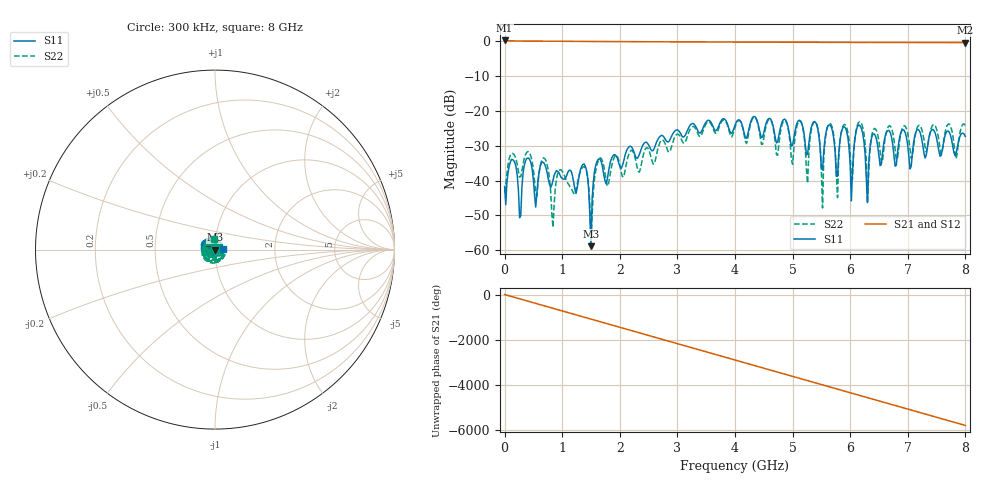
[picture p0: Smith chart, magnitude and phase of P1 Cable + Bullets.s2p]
#  HZ  S  DB  R  50.00
! Rohde & Schwarz Vector Network Analyzer
! Rohde-Schwarz,ZNB8-4Port,1311601044101761,1.95
! Created: UTC 2/26/2014, 9:19:17 AM
! freq[Hz]  db:S11  ang:S11  db:S21  ang:S21  db:S12  ang:S12  db:S22  ang:S22
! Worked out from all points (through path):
!   401 points, 300 kHz to 8 GHz, reference 50 ohm
!   highest |S21| = 0.02 dB at 300 kHz (marker M1); lowest = -0.6 dB at 8 GHz (marker M2)
!   group delay of S21, straight-line fit = 2.01 ns
!   lowest |S11| = -58.8 dB at 1.5 GHz (marker M3), VSWR 1.00, Z = 50.1 - j0.0603 ohm
!   |S11| at or under -10 dB: start of sweep to end of sweep
!   |S22| runs from -57.2 to -21.9 dB; largest |S21 - S12| = 0.0042
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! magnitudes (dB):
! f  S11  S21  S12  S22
! 300 kHz  -41.7  0.0  0.0  -43.4
! 140.3 MHz  -34.1  -0.1  -0.1  -32.2
! 260.3 MHz  -50.6  -0.1  -0.1  -39.1
! 700.3 MHz  -35.5  -0.2  -0.2  -33.8
! 840.3 MHz  -40.0  -0.2  -0.2  -53.4
! 1.34 GHz  -35.9  -0.3  -0.3  -36.5
! 1.5 GHz  -58.8  -0.3  -0.3  -57.2
! 1.64 GHz  -33.8  -0.3  -0.3  -33.8
! 2.68 GHz  -27.8  -0.4  -0.4  -29.9
! 4 GHz  -24.2  -0.4  -0.4  -24.8
! 5.12 GHz  -22.8  -0.5  -0.5  -23.0
! 5.26 GHz  -32.4  -0.5  -0.5  -40.8
! 5.34 GHz  -24.0  -0.5  -0.5  -24.4
! 5.52 GHz  -37.0  -0.5  -0.5  -47.8
! 5.62 GHz  -24.2  -0.5  -0.5  -24.1
! 5.78 GHz  -38.8  -0.5  -0.5  -44.9
! 5.9 GHz  -24.6  -0.5  -0.5  -24.0
! 6.02 GHz  -45.8  -0.5  -0.5  -39.0
! 6.18 GHz  -24.6  -0.5  -0.5  -23.4
! 6.3 GHz  -46.3  -0.5  -0.5  -46.5
! 6.68 GHz  -25.8  -0.6  -0.6  -24.3
! 8 GHz  -27.4  -0.6  -0.6  -24.3
